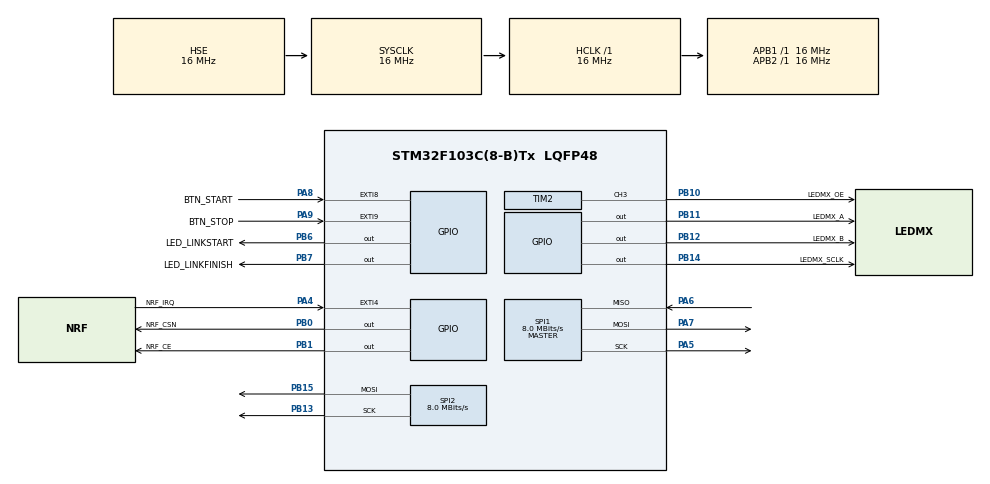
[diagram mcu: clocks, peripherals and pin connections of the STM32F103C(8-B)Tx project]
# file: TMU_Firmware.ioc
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Mcu.Family=STM32F1
Mcu.Name=STM32F103C(8-B)Tx
Mcu.Package=LQFP48
NVIC.EXTI4_IRQn=true\:0\:0\:false\:false\:true\:true\:true\:true
NVIC.EXTI9_5_IRQn=true\:2\:0\:true\:false\:true\:true\:true\:true
NVIC.PriorityGroup=NVIC_PRIORITYGROUP_3
NVIC.TIM1_UP_IRQn=true\:1\:1\:true\:false\:true\:true\:true\:true
NVIC.TIM3_IRQn=true\:0\:1\:false\:false\:true\:true\:true\:true
PA13.Mode=Serial_Wire
PA13.Signal=SYS_JTMS-SWDIO
PA14.Mode=Serial_Wire
PA14.Signal=SYS_JTCK-SWCLK
PA4.GPIO_Label=NRF_IRQ
PA4.GPIO_ModeDefaultEXTI=GPIO_MODE_IT_FALLING
PA4.Signal=GPXTI4
PA5.Mode=Full_Duplex_Master
PA5.Signal=SPI1_SCK
PA6.Mode=Full_Duplex_Master
PA6.Signal=SPI1_MISO
PA7.Mode=Full_Duplex_Master
PA7.Signal=SPI1_MOSI
PA8.GPIO_Label=BTN_START
PA8.Signal=GPXTI8
PA9.GPIO_Label=BTN_STOP
PA9.Signal=GPXTI9
PB0.GPIO_Label=NRF_CSN
PB0.PinState=GPIO_PIN_SET
PB0.Signal=GPIO_Output
PB1.GPIO_Label=NRF_CE
PB1.Signal=GPIO_Output
PB10.GPIO_Label=LEDMX_OE
PB10.Signal=S_TIM2_CH3
PB11.GPIO_Label=LEDMX_A
PB11.GPIO_Speed=GPIO_SPEED_FREQ_MEDIUM
PB11.Signal=GPIO_Output
PB12.GPIO_Label=LEDMX_B
PB12.GPIO_Speed=GPIO_SPEED_FREQ_MEDIUM
PB12.Signal=GPIO_Output
PB13.Mode=TX_Only_Simplex_Unidirect_Master
PB13.Signal=SPI2_SCK
PB14.GPIO_Label=LEDMX_SCLK
PB14.GPIO_Speed=GPIO_SPEED_FREQ_MEDIUM
PB14.PinState=GPIO_PIN_SET
PB14.Signal=GPIO_Output
PB15.Mode=TX_Only_Simplex_Unidirect_Master
PB15.Signal=SPI2_MOSI
PB6.GPIO_Label=LED_LINKSTART
PB6.Signal=GPIO_Output
PB7.GPIO_Label=LED_LINKFINISH
PB7.Signal=GPIO_Output
PD0-OSC_IN.Mode=HSE-External-Oscillator
PD0-OSC_IN.Signal=RCC_OSC_IN
PD1-OSC_OUT.Mode=HSE-External-Oscillator
PD1-OSC_OUT.Signal=RCC_OSC_OUT
ProjectManager.HeapSize=0x200
ProjectManager.StackSize=0x400
ProjectManager.TargetToolchain=Makefile
RCC.AHBFreq_Value=16000000
RCC.APB1Freq_Value=16000000
RCC.APB1TimFreq_Value=16000000
RCC.APB2Freq_Value=16000000
RCC.APB2TimFreq_Value=16000000
RCC.HCLKFreq_Value=16000000
RCC.HSE_VALUE=16000000
RCC.PLLSourceVirtual=RCC_PLLSOURCE_HSE
RCC.SYSCLKFreq_VALUE=16000000
RCC.SYSCLKSource=RCC_SYSCLKSOURCE_HSE
RCC.USBFreq_Value=32000000
SH.S_TIM2_CH3.0=TIM2_CH3,PWM Generation3 CH3
SPI1.CalculateBaudRate=8.0 MBits/s
SPI1.Direction=SPI_DIRECTION_2LINES
SPI1.Mode=SPI_MODE_MASTER
SPI1.VirtualType=VM_MASTER
SPI2.CalculateBaudRate=8.0 MBits/s
SPI2.Direction=SPI_DIRECTION_2LINES
SPI2.FirstBit=SPI_FIRSTBIT_LSB
SPI2.Mode=SPI_MODE_MASTER
SPI2.VirtualType=VM_MASTER
TIM1.Period=2500
TIM1.Prescaler=15
TIM2.Channel-PWM\ Generation3\ CH3=TIM_CHANNEL_3
TIM2.Period=100
TIM2.Prescaler=15
TIM2.Pulse-PWM\ Generation3\ CH3=10
TIM3.Period=999
TIM3.Prescaler=15999
TIM4.Prescaler=15
VP_TIM1_VS_ClockSourceINT.Mode=Internal
VP_TIM2_VS_ClockSourceINT.Mode=Internal
VP_TIM3_VS_ClockSourceINT.Mode=Internal
VP_TIM4_VS_ClockSourceINT.Mode=Internal
board=custom

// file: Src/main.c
/* USER CODE BEGIN Header */
/**
  ******************************************************************************
  * @file           : main.c
  * @brief          : Main program body
  ******************************************************************************
  * @attention
  *
  * Copyright (c) 2025 STMicroelectronics.
  * All rights reserved.
  *
  * This software is licensed under terms that can be found in the LICENSE file
  * in the root directory of this software component.
  * If no LICENSE file comes with this software, it is provided AS-IS.
  *
  ******************************************************************************
  */
/* USER CODE END Header */
#include "main.h"
#include "spi.h"
#include "tim.h"
#include "gpio.h"

/* USER CODE BEGIN Includes */
#include "timer.h"
#include "led.h"
#include "display.h"
#include "button.h"
#include "radio.h"

#include <sheduler.h>
/* USER CODE END Includes */

void SystemClock_Config(void);

/* USER CODE BEGIN 0 */
static void UpdateTime(void)
{
    unsigned min, sec, ms;
    Timer_GetTime(&min, &sec, &ms);
    Display_UpdateTime(min, sec, ms);
}

static void UpdateLinkStatus(void)
{
    bool linkStart, linkFinish;
    Radio_GetLinkStatus(&linkStart, &linkFinish);
    Led_ShowLink(linkStart, linkFinish);
}

static struct ShedulerTask *const shedulerTasks[] = {
    &(struct ShedulerTask){.execute = UpdateTime, .period = 25, .enabled = true},
    &(struct ShedulerTask){.execute = UpdateLinkStatus, .period = 100, .enabled = true},
    NULL
};
/* USER CODE END 0 */

int main(void)
{

  /* MCU Configuration--------------------------------------------------------*/

  /* Reset of all peripherals, Initializes the Flash interface and the Systick. */
  HAL_Init();

  /* Configure the system clock */
  SystemClock_Config();

  /* Initialize all configured peripherals */
  MX_GPIO_Init();
  MX_SPI1_Init();
  MX_SPI2_Init();
  MX_TIM1_Init();
  MX_TIM3_Init();
  MX_TIM4_Init();
  MX_TIM2_Init();
  /* USER CODE BEGIN 2 */
  LL_SPI_Enable(SPI1);
  LL_SPI_Enable(SPI2);

  // Таймер динамической индикации
  LL_TIM_EnableIT_UPDATE(TIM1);
  LL_TIM_EnableCounter(TIM1);

  // Таймер для яркости панели
  LL_TIM_CC_EnableChannel(TIM2, LL_TIM_CHANNEL_CH3);
  LL_TIM_EnableCounter(TIM2);

  // Таймер для отсчёта микросекунд;
  LL_TIM_EnableCounter(TIM4);

  // Миллисекундный таймер заезда
  LL_TIM_EnableIT_UPDATE(TIM3);

  Led_BlinkAlternate(3, 500);
  Radio_Init();
  Display_ShowSplashScreen();
  Display_DrawTimeFrame();
  Timer_Reset();
  Button_Reset();

  /* USER CODE END 2 */

  /* Infinite loop */
  /* USER CODE BEGIN WHILE */
  while (1)
  {
    Sheduler_SpinRegular(shedulerTasks);
    /* USER CODE END WHILE */

    /* USER CODE BEGIN 3 */
    if (Button_IsUpdateFlagSet()) {
        HAL_Delay(10); // debounce
        Button_ReadState();

        if (Button_HasBeenPressed(BTN_START)) {
            Timer_Start();
        }
        else if (Button_HasBeenPressed(BTN_STOP)) {
            TimerState timerState = Timer_GetState();
            if (timerState == TimerState_RUN)
                Timer_Stop();
            else if (timerState == TimerState_HALT)
                Timer_Reset();
            else {
                static int brightnessLevel = 0;

                brightnessLevel++;
                if (brightnessLevel > 4)
                    brightnessLevel = 0;

                LL_TIM_OC_SetCompareCH3(TIM2, 20 * (brightnessLevel + 1));
            }
        }
        Button_ClearUpdateFlag();
        BUTTON_IRQ_ON();
    }
  }
  /* USER CODE END 3 */
}

void SystemClock_Config(void)
{
  RCC_OscInitTypeDef RCC_OscInitStruct = {0};
  RCC_ClkInitTypeDef RCC_ClkInitStruct = {0};

  /** Initializes the RCC Oscillators according to the specified parameters
  * in the RCC_OscInitTypeDef structure.
  */
  RCC_OscInitStruct.OscillatorType = RCC_OSCILLATORTYPE_HSE;
  RCC_OscInitStruct.HSEState = RCC_HSE_ON;
  RCC_OscInitStruct.PLL.PLLState = RCC_PLL_NONE;
  if (HAL_RCC_OscConfig(&RCC_OscInitStruct) != HAL_OK)
  {
    Error_Handler();
  }

  /** Initializes the CPU, AHB and APB buses clocks
  */
  RCC_ClkInitStruct.ClockType = RCC_CLOCKTYPE_HCLK|RCC_CLOCKTYPE_SYSCLK
                              |RCC_CLOCKTYPE_PCLK1|RCC_CLOCKTYPE_PCLK2;
  RCC_ClkInitStruct.SYSCLKSource = RCC_SYSCLKSOURCE_HSE;
  RCC_ClkInitStruct.AHBCLKDivider = RCC_SYSCLK_DIV1;
  RCC_ClkInitStruct.APB1CLKDivider = RCC_HCLK_DIV1;
  RCC_ClkInitStruct.APB2CLKDivider = RCC_HCLK_DIV1;

  if (HAL_RCC_ClockConfig(&RCC_ClkInitStruct, FLASH_LATENCY_0) != HAL_OK)
  {
    Error_Handler();
  }
}

void Error_Handler(void)
{
  __disable_irq();
  while (1)
  {
  }
}
